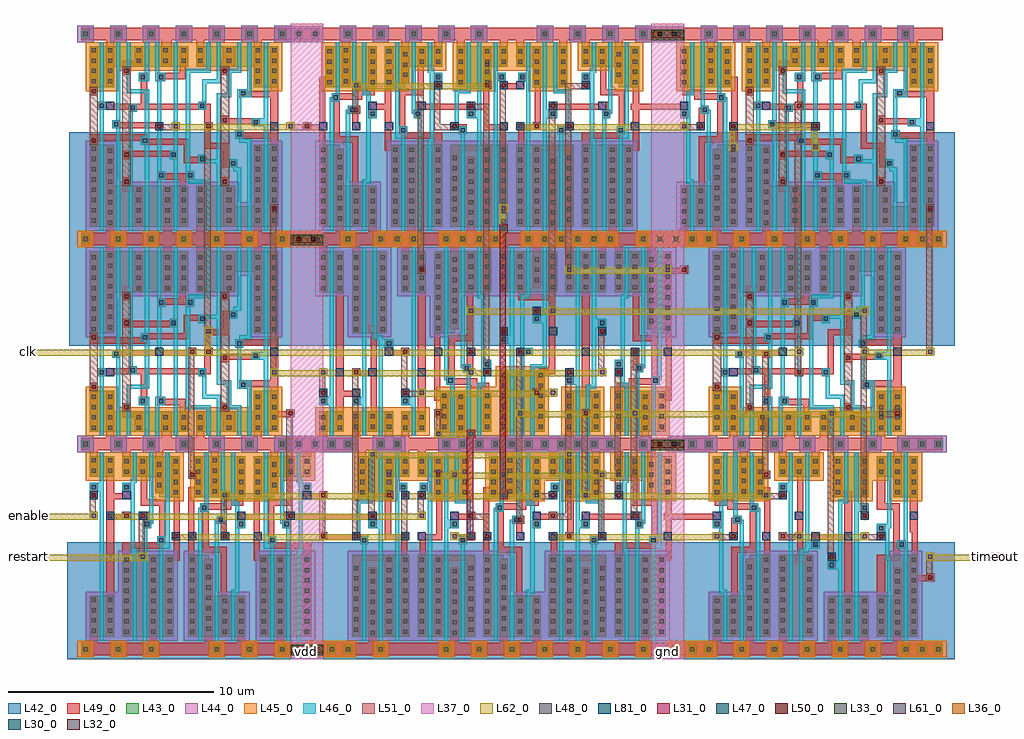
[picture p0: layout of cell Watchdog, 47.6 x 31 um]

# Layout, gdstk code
from math import pi, radians
import gdstk
lib = gdstk.Library(unit=1e-6, precision=1e-09)
def R(c, l, rs):  # rectangles x0, y0, x1, y1
    for r in rs: c.add(gdstk.rectangle(r[:2], r[2:], *l))
def A(c, l, x, y, w, h, nx, ny, dx, dy):  # array of equal rectangles
    R(c, l, [(x+i*dx, y+j*dy, x+i*dx+w, y+j*dy+h) for i in range(nx) for j in range(ny)])
L30_0 = (30, 0)
L31_0 = (31, 0)
L32_0 = (32, 0)
L33_0 = (33, 0)
L36_0 = (36, 0)
L37_0 = (37, 0)
L42_0 = (42, 0)
L43_0 = (43, 0)
L44_0 = (44, 0)
L45_0 = (45, 0)
L46_0 = (46, 0)
L47_0 = (47, 0)
L48_0 = (48, 0)
L49_0 = (49, 0)
L50_0 = (50, 0)
L51_0 = (51, 0)
L61_0 = (61, 0)
L62_0 = (62, 0)
L81_0 = (81, 0)

dffposx1 = lib.new_cell('DFFPOSX1')
R(dffposx1, L42_0, [(-0.8,4.8,10.4,10.5)])
A(dffposx1, L43_0, -0.2, -0.2, 0.4, 0.4, 6, 2, 1.6, 10)
R(dffposx1, L43_0, [(0.2,0.6,5,1.6), (5.4,0.6,9.4,1.6), (0.2,1.6,1.4,2.6), (8.2,1.6,9.4,2.6), (0.2,5.4,1.4,7.4), (8.2,5.4,9.4,8.4), (0.2,7.4,5,9.4), (5.4,7.4,7.3,8.4), (5.4,8.4,9.4,9.4)])
A(dffposx1, L44_0, -0.4, -0.4, 0.8, 0.8, 6, 1, 1.6, 0)
R(dffposx1, L44_0, [(0,5.2,1.6,7.2), (8,5.2,9.6,8.2), (0,7.2,7.5,8.2), (0,8.2,9.6,9.6)])
A(dffposx1, L45_0, -0.4, 9.6, 0.8, 0.8, 6, 1, 1.6, 0)
R(dffposx1, L45_0, [(0,0.4,9.6,1.8), (0,1.8,1.6,2.8), (8,1.8,9.6,2.8)])
R(dffposx1, L46_0, [(0.7,0.4,0.9,3.3), (1.5,0.4,1.7,4.2), (2,0.4,2.2,2.7), (2.9,0.4,3.1,1.9), (3.4,0.4,3.6,1.9), (4.3,0.4,4.5,5.7), (5.9,0.4,6.1,1.7), (6.4,0.4,6.6,2.2), (7.4,0.4,7.6,1.7), (7.9,0.4,8.1,2.7), (8.7,0.4,8.9,4.1), (4.9,1.7,6.1,1.9), (6.9,1.7,7.6,1.9), (2.6,1.9,3.1,2.3), (3.4,1.9,3.9,2.3), (4.9,1.9,5.1,6.7), (6.9,1.9,7.1,2.9), (5.7,2.2,6.6,2.4), (3.5,2.3,3.7,6.7), (5.7,2.4,5.9,3.3), (2,2.7,3.1,2.9), (7.4,2.7,8.1,3.1), (2.9,2.9,3.1,5), (6.4,2.9,7.1,3.1), (6.4,3.1,6.6,6.1), (7.4,3.1,7.6,4.7), (0.6,3.3,1,3.7), (5.5,3.3,5.9,3.7), (2.1,3.4,2.5,3.8), (0.7,3.7,0.9,9.6), (2.1,3.8,2.3,9.6), (8.1,4.1,8.9,4.5), (1.3,4.2,1.7,4.6), (8.7,4.5,8.9,9.6), (1.5,4.6,1.7,9.6), (7.3,4.7,7.7,5.1), (2.7,5,3.1,5.4), (7.5,5.1,8.1,5.3), (7.9,5.3,8.1,9.6), (2.9,5.4,3.1,9.6), (4.1,5.7,4.5,6.1), (5.5,5.9,5.9,6.1), (4.3,6.1,4.5,9.6), (5.5,6.1,6.6,6.3), (7,6.1,7.4,6.5), (6.4,6.3,6.6,9.6), (7.2,6.5,7.6,6.7), (3.5,6.7,3.9,7.1), (4.9,6.7,5.3,7.1), (7.4,6.7,7.6,9.6), (3.5,7.1,3.7,9.6), (5,7.1,6.1,7.3), (5.9,7.3,6.1,9.6)])
R(dffposx1, L47_0, [(2.7,2,2.9,2.2), (3.6,2,3.8,2.2), (7.6,2.8,7.8,3), (0.7,3.4,0.9,3.6), (5.6,3.4,5.8,3.6), (2.2,3.5,2.4,3.7), (8.2,4.2,8.4,4.4), (1.4,4.3,1.6,4.5), (7.4,4.8,7.6,5), (2.8,5.1,3,5.3), (4.2,5.8,4.4,6), (5.6,6,5.8,6.2), (7.1,6.2,7.3,6.4), (3.6,6.8,3.8,7), (5,6.8,5.2,7)])
A(dffposx1, L48_0, -0.1, -0.1, 0.2, 0.2, 6, 2, 1.6, 10)
A(dffposx1, L48_0, 0.3, 0.7, 0.2, 0.2, 1, 4, 0, 0.5)
A(dffposx1, L48_0, 1.1, 0.7, 0.2, 0.2, 1, 4, 0, 0.5)
A(dffposx1, L48_0, 5.5, 0.7, 0.2, 0.2, 3, 2, 1.4, 0.5)
A(dffposx1, L48_0, 9.1, 0.7, 0.2, 0.2, 1, 4, 0, 0.5)
A(dffposx1, L48_0, 0.3, 5.5, 0.2, 0.2, 1, 8, 0, 0.5)
A(dffposx1, L48_0, 8.3, 5.5, 0.2, 0.2, 1, 8, 0, 0.5)
A(dffposx1, L48_0, 9.1, 5.5, 0.2, 0.2, 1, 8, 0, 0.5)
A(dffposx1, L48_0, 1.1, 5.6, 0.2, 0.2, 1, 8, 0, 0.5)
A(dffposx1, L48_0, 2.5, 7.5, 0.2, 0.2, 1, 4, 0, 0.5)
A(dffposx1, L48_0, 3.9, 7.5, 0.2, 0.2, 3, 4, 0.8, 0.5)
A(dffposx1, L48_0, 6.9, 7.5, 0.2, 0.2, 1, 4, 0, 0.5)
R(dffposx1, L48_0, [(2.5,0.7,2.7,0.9), (3.8,0.7,4,0.9), (4.7,0.7,4.9,0.9), (2.5,1.2,2.7,1.4), (3.8,1.2,4,1.4), (4.7,1.2,4.9,1.4), (8.3,1.7,8.5,1.9), (8.3,2.2,8.5,2.4)])
R(dffposx1, L49_0, [(-0.2,-0.3,9.8,0.3), (1,0.3,1.4,2.6), (3.7,0.3,4.2,1.6), (5.4,0.3,5.8,1.6), (8.2,0.3,8.6,2.5), (0.2,0.6,0.6,3), (2.4,0.6,2.8,1.3), (4.6,0.6,5,1.6), (6.7,0.6,7.3,1.3), (9,0.6,9.4,2.8), (1.8,1.3,2.8,1.6), (6.6,1.3,7.3,1.6), (1.8,1.6,2.2,2), (4.6,1.6,4.9,1.9), (6.6,1.6,7,2), (2.6,1.9,3,2.3), (3.5,1.9,4.9,2.2), (3.5,2.2,3.9,2.3), (2.7,2.3,3,3.4), (7.5,2.7,7.9,2.8), (7.5,2.8,9.4,3.1), (9,3.1,9.4,4.8), (0.6,3.3,1.4,3.4), (5.5,3.3,5.9,3.4), (0.6,3.4,6.1,3.7), (2.1,3.7,2.5,3.8), (5.8,3.7,6.1,5.3), (6.6,4,7,4.1), (6.6,4.1,8.5,4.4), (1.3,4.2,1.7,4.3), (1.3,4.3,3.8,4.6), (8.1,4.4,8.5,4.5), (3.4,4.6,3.8,4.7), (7.3,4.7,7.7,4.8), (7.3,4.8,9.4,5.1), (0.2,4.9,3,5), (0.2,5,3.1,5.1), (0.2,5.1,5.1,5.2), (9,5.1,9.4,9.4), (0.2,5.2,0.6,9.4), (2.7,5.2,5.1,5.4), (5.8,5.3,7,5.6), (4.8,5.4,5.1,6), (8.2,5.4,8.6,9.7), (1,5.5,1.4,9.7), (6.7,5.6,7,6.1), (1.8,5.7,4.5,6), (5.5,5.9,5.9,6), (1.8,6,2.2,6.1), (4.1,6,4.5,6.1), (4.8,6,5.9,6.3), (6.7,6.1,7.4,6.5), (3.5,6.7,3.9,6.8), (4.9,6.7,5.3,6.8), (3.5,6.8,5.3,7.1), (1.8,7,2.2,7.4), (6.6,7,7,7.4), (4.6,7.1,4.9,7.4), (1.8,7.4,2.8,7.7), (3.8,7.4,4.2,9.7), (4.6,7.4,5,9.4), (5.4,7.4,5.8,9.7), (6.7,7.4,7.3,9.4), (2.4,7.7,2.8,9.4), (-0.2,9.7,9.8,10.3)])
R(dffposx1, L50_0, [(1.9,1.7,2.1,1.9), (6.7,1.7,6.9,1.9), (0.3,2.7,0.5,2.9), (6.7,4.1,6.9,4.3), (0.3,5.1,0.5,5.3), (1.9,5.8,2.1,6), (1.9,7.1,2.1,7.3), (6.7,7.1,6.9,7.3)])
R(dffposx1, L51_0, [(1.8,1.6,2.2,7.4), (6.6,1.6,7,7.4), (0.2,2.6,0.6,5.4)])
R(dffposx1, L81_0, [(1,3.3,1.4,3.7), (3.4,4.3,3.8,4.7), (9,4.3,9.4,4.7)])
dffposx1.add(gdstk.Label('vdd', (0.4,10), layer=109, texttype=0))
dffposx1.add(gdstk.Label('D', (3.6,4.5), layer=109, texttype=0))
dffposx1.add(gdstk.Label('gnd', (0.4,0), layer=109, texttype=0))
dffposx1.add(gdstk.Label('Q', (9.2,4.5), layer=109, texttype=0))
dffposx1.add(gdstk.Label('CLK', (1.2,3.5), layer=109, texttype=0))

and2x2 = lib.new_cell('AND2X2')
R(and2x2, L42_0, [(-0.8,4.8,4,10.5)])
R(and2x2, L43_0, [(-0.2,-0.2,0.2,0.2), (1.4,-0.2,1.8,0.2), (0.2,0.6,2.7,2.6), (2,5.4,3,5.6), (1.8,5.6,3,7.4), (0.2,7.4,3,9.4), (-0.2,9.8,0.2,10.2), (1.4,9.8,1.8,10.2)])
R(and2x2, L44_0, [(-0.4,-0.4,0.4,0.4), (1.2,-0.4,2,0.4), (1.8,5.2,3.2,5.4), (1.6,5.4,3.2,7.2), (0,7.2,3.2,9.6)])
R(and2x2, L45_0, [(0,0.4,2.9,2.8), (-0.4,9.6,0.4,10.4), (1.2,9.6,2,10.4)])
R(and2x2, L46_0, [(0.7,0.4,0.9,2.8), (1.2,0.4,1.4,3.5), (2,0.4,2.2,2.9), (0.5,2.8,0.9,3), (2,2.9,2.4,3.1), (0.5,3,0.7,3.7), (2,3.1,2.5,3.3), (2.3,3.3,2.5,9.6), (1.2,3.5,1.6,3.7), (0.2,3.7,0.7,4.1), (1.2,3.7,1.7,3.9), (1.5,3.9,1.7,9.6), (0.5,4.1,0.7,7.1), (0.5,7.1,0.9,7.3), (0.7,7.3,0.9,9.6)])
R(and2x2, L47_0, [(2.1,3,2.3,3.2), (1.3,3.6,1.5,3.8), (0.3,3.8,0.5,4)])
A(and2x2, L48_0, 1.6, 0.7, 0.2, 0.2, 1, 4, 0, 0.5)
A(and2x2, L48_0, 0.3, 0.75, 0.2, 0.2, 1, 4, 0, 0.5)
A(and2x2, L48_0, 2.4, 0.75, 0.2, 0.2, 1, 4, 0, 0.5)
A(and2x2, L48_0, 2.7, 5.55, 0.2, 0.2, 1, 8, 0, 0.5)
A(and2x2, L48_0, 1.9, 5.9, 0.2, 0.2, 1, 7, 0, 0.5)
A(and2x2, L48_0, 0.3, 7.55, 0.2, 0.2, 1, 4, 0, 0.5)
A(and2x2, L48_0, 1.1, 7.55, 0.2, 0.2, 1, 4, 0, 0.5)
R(and2x2, L48_0, [(-0.1,-0.1,0.1,0.1), (1.5,-0.1,1.7,0.1), (-0.1,9.9,0.1,10.1), (1.5,9.9,1.7,10.1)])
R(and2x2, L49_0, [(-0.2,-0.3,3.4,0.3), (1.5,0.3,1.9,2.5), (0.2,0.6,0.6,2.6), (2.3,0.6,2.7,2.1), (2.3,2.1,3,2.6), (0.3,2.6,0.6,2.7), (2.7,2.6,3,4.3), (0.3,2.7,1.2,2.9), (0.3,2.9,2.4,3), (0.9,3,2.4,3.2), (2,3.2,2.4,3.3), (0.2,3.3,0.6,4.1), (2,3.3,2.3,5), (1.2,3.5,1.6,3.6), (1.1,3.6,1.6,3.9), (1.1,3.9,1.4,4.3), (1,4.3,1.4,4.7), (2.6,4.3,3,4.7), (2.7,4.7,3,5.4), (1.1,5,2.3,5.3), (1.1,5.3,1.4,7.4), (2.6,5.4,3,9.4), (1.8,5.6,2.2,9.7), (0.2,7.4,0.6,9.7), (1,7.4,1.4,9.4), (-0.2,9.7,3.4,10.3)])
R(and2x2, L81_0, [(0.2,3.3,0.6,3.7), (1,4.3,1.4,4.7), (2.6,4.3,3,4.7)])
and2x2.add(gdstk.Label('vdd', (0.4,10), layer=109, texttype=0))
and2x2.add(gdstk.Label('gnd', (0.4,0), layer=109, texttype=0))
and2x2.add(gdstk.Label('A', (0.4,3.5), layer=109, texttype=0))
and2x2.add(gdstk.Label('B', (1.2,4.5), layer=109, texttype=0))
and2x2.add(gdstk.Label('Y', (2.8,4.5), layer=109, texttype=0))

fill = lib.new_cell('FILL')
R(fill, L42_0, [(-0.8,4.8,1.6,10.5)])
R(fill, L43_0, [(-0.2,-0.2,0.2,0.2), (0.6,-0.2,1,0.2), (-0.2,9.8,0.2,10.2), (0.6,9.8,1,10.2)])
R(fill, L44_0, [(-0.4,-0.4,1.2,0.4)])
R(fill, L45_0, [(-0.4,9.6,1.2,10.4)])
R(fill, L48_0, [(-0.1,-0.1,0.1,0.1), (0.7,-0.1,0.9,0.1), (-0.1,9.9,0.1,10.1), (0.7,9.9,0.9,10.1)])
R(fill, L49_0, [(-0.2,-0.3,1,0.3), (-0.2,9.7,1,10.3)])
fill.add(gdstk.Label('vdd', (0.4,10), layer=109, texttype=0))
fill.add(gdstk.Label('gnd', (0.4,0), layer=109, texttype=0))

or2x2 = lib.new_cell('OR2X2')
R(or2x2, L42_0, [(-0.7,4.8,3.5,10.5)])
R(or2x2, L43_0, [(-0.2,-0.2,0.2,0.2), (1.4,-0.2,1.8,0.2), (0.2,0.6,3,1.6), (1.8,1.6,3,2.4), (2,2.4,3,2.6), (0.2,5.4,2.7,9.4), (-0.2,9.8,0.2,10.2), (1.4,9.8,1.8,10.2)])
R(or2x2, L44_0, [(-0.4,-0.4,0.4,0.4), (1.2,-0.4,2,0.4), (0,5.2,2.9,9.6)])
R(or2x2, L45_0, [(0,0.4,3.2,1.8), (1.6,1.8,3.2,2.6), (1.8,2.6,3.2,2.8), (-0.4,9.6,0.4,10.4), (1.2,9.6,2,10.4)])
R(or2x2, L46_0, [(0.7,0.4,0.9,1.7), (1.5,0.4,1.7,3.7), (2.3,0.4,2.5,4.5), (0.6,1.7,0.9,1.9), (0.2,1.9,0.8,2.3), (0.6,2.3,0.8,5.1), (1.2,3.7,1.7,3.9), (1.2,3.9,1.6,4.1), (1.2,4.1,1.4,9.6), (1.9,4.5,2.5,4.9), (2,4.9,2.5,5.1), (0.6,5.1,0.9,5.3), (2,5.1,2.2,9.6), (0.7,5.3,0.9,9.6)])
R(or2x2, L47_0, [(0.3,2,0.5,2.2), (1.3,3.8,1.5,4), (2,4.6,2.2,4.8)])
A(or2x2, L48_0, 2.7, 0.75, 0.2, 0.2, 1, 4, 0, 0.5)
A(or2x2, L48_0, 1.9, 0.9, 0.2, 0.2, 1, 3, 0, 0.5)
A(or2x2, L48_0, 0.3, 5.55, 0.2, 0.2, 1, 8, 0, 0.5)
A(or2x2, L48_0, 1.6, 5.55, 0.2, 0.2, 1, 8, 0, 0.5)
A(or2x2, L48_0, 2.4, 5.55, 0.2, 0.2, 1, 8, 0, 0.5)
R(or2x2, L48_0, [(-0.1,-0.1,0.1,0.1), (1.5,-0.1,1.7,0.1), (0.3,0.75,0.5,0.95), (1.1,0.75,1.3,0.95), (0.3,1.25,0.5,1.45), (1.1,1.25,1.3,1.45), (-0.1,9.9,0.1,10.1), (1.5,9.9,1.7,10.1)])
R(or2x2, L49_0, [(-0.2,-0.3,3.4,0.3), (0.2,0.3,0.6,1.6), (1.8,0.3,2.2,2.4), (1,0.6,1.4,1.6), (2.6,0.6,3,2.6), (1.1,1.6,1.4,2.7), (0.2,1.9,0.6,2.7), (2.7,2.6,3,4.3), (1.1,2.7,2.3,3), (2,3,2.3,4.5), (1,3.3,1.5,3.7), (1.2,3.7,1.6,4.1), (2.6,4.3,3,4.7), (1.9,4.5,2.3,4.8), (2.7,4.7,3,5.4), (0.2,4.8,2.3,4.9), (0.2,4.9,2.2,5.1), (0.2,5.1,0.6,9.4), (1.5,5.4,1.9,9.7), (2.3,5.4,3,5.7), (2.3,5.7,2.7,9.4), (-0.2,9.7,3.4,10.3)])
R(or2x2, L81_0, [(0.2,2.3,0.6,2.7), (1,3.3,1.4,3.7), (2.6,4.3,3,4.7)])
or2x2.add(gdstk.Label('Y', (2.8,4.5), layer=109, texttype=0))
or2x2.add(gdstk.Label('B', (1.2,3.5), layer=109, texttype=0))
or2x2.add(gdstk.Label('vdd', (0.4,10), layer=109, texttype=0))
or2x2.add(gdstk.Label('gnd', (0.4,0), layer=109, texttype=0))
or2x2.add(gdstk.Label('A', (0.4,2.5), layer=109, texttype=0))

invx1 = lib.new_cell('INVX1')
R(invx1, L42_0, [(-0.9,4.8,2.6,10.5)])
R(invx1, L43_0, [(-0.2,-0.2,0.2,0.2), (0.2,0.6,1.4,1.6), (0.2,7.4,1.4,9.4), (-0.2,9.8,0.2,10.2)])
R(invx1, L44_0, [(-0.4,-0.4,0.4,0.4), (0,7.2,1.6,9.6)])
R(invx1, L45_0, [(0,0.4,1.6,1.8), (-0.4,9.6,0.4,10.4)])
R(invx1, L46_0, [(0.7,0.4,0.9,1.9), (0.2,1.9,0.9,2.3), (0.7,2.3,0.9,9.6)])
R(invx1, L47_0, [(0.3,2,0.5,2.2)])
A(invx1, L48_0, 0.3, 7.5, 0.2, 0.2, 1, 4, 0, 0.5)
A(invx1, L48_0, 1.1, 7.5, 0.2, 0.2, 1, 4, 0, 0.5)
R(invx1, L48_0, [(-0.1,-0.1,0.1,0.1), (0.3,0.7,0.5,0.9), (1.1,0.7,1.3,0.9), (0.3,1.2,0.5,1.4), (1.1,1.2,1.3,1.4), (-0.1,9.9,0.1,10.1)])
R(invx1, L49_0, [(-0.2,-0.3,1.8,0.3), (0.2,0.3,0.6,1.6), (1,0.6,1.4,9.4), (0.2,1.9,0.6,2.7), (0.2,7.4,0.6,9.7), (-0.2,9.7,1.8,10.3)])
R(invx1, L81_0, [(0.2,2.3,0.6,2.7), (1,3.3,1.4,3.7)])
invx1.add(gdstk.Label('A', (0.4,2.5), layer=109, texttype=0))
invx1.add(gdstk.Label('Y', (1.2,3.5), layer=109, texttype=0))
invx1.add(gdstk.Label('vdd', (0.4,10), layer=109, texttype=0))
invx1.add(gdstk.Label('gnd', (0.4,0), layer=109, texttype=0))

aoi21x1 = lib.new_cell('AOI21X1')
R(aoi21x1, L42_0, [(-0.7,4.8,3.9,10.5)])
R(aoi21x1, L43_0, [(-0.2,-0.2,0.2,0.2), (1.4,-0.2,1.8,0.2), (0.5,0.6,3,1.6), (0.5,1.6,2.2,2.6), (0.2,5.4,3,9.4), (-0.2,9.8,0.2,10.2), (1.4,9.8,1.8,10.2)])
R(aoi21x1, L44_0, [(-0.4,-0.4,0.4,0.4), (1.2,-0.4,2,0.4), (0,5.2,3.2,9.6)])
R(aoi21x1, L45_0, [(0.3,0.4,3.2,1.8), (0.3,1.8,2.4,2.8), (-0.4,9.6,0.4,10.4), (1.2,9.6,2,10.4)])
R(aoi21x1, L46_0, [(1,0.4,1.2,2.7), (1.5,0.4,1.7,3.7), (2.3,0.4,2.5,1.9), (2.3,1.9,2.9,2.3), (2.3,2.3,2.5,9.6), (0.4,2.7,1.2,2.9), (0.4,2.9,0.6,4.5), (1,3.7,1.7,4.1), (1.5,4.1,1.7,9.6), (0.4,4.5,1,4.7), (0.6,4.7,1,4.9), (0.7,4.9,0.9,9.6)])
R(aoi21x1, L47_0, [(2.6,2,2.8,2.2), (1.1,3.8,1.3,4), (0.7,4.6,0.9,4.8)])
A(aoi21x1, L48_0, 0.6, 0.75, 0.2, 0.2, 1, 4, 0, 0.5)
A(aoi21x1, L48_0, 1.9, 0.75, 0.2, 0.2, 1, 4, 0, 0.5)
A(aoi21x1, L48_0, 1.9, 5.55, 0.2, 0.2, 1, 8, 0, 0.5)
A(aoi21x1, L48_0, 2.7, 5.55, 0.2, 0.2, 1, 8, 0, 0.5)
A(aoi21x1, L48_0, 0.3, 5.95, 0.2, 0.2, 1, 7, 0, 0.5)
A(aoi21x1, L48_0, 1.1, 6.1, 0.2, 0.2, 1, 7, 0, 0.5)
R(aoi21x1, L48_0, [(-0.1,-0.1,0.1,0.1), (1.5,-0.1,1.7,0.1), (2.7,0.75,2.9,0.95), (2.7,1.25,2.9,1.45), (-0.1,9.9,0.1,10.1), (1.5,9.9,1.7,10.1)])
R(aoi21x1, L49_0, [(-0.2,-0.3,3.4,0.3), (0.5,0.3,0.9,2.6), (2.6,0.3,3,1.6), (1.8,0.6,2.2,2.6), (2.5,1.9,2.9,2.3), (2.6,2.3,3,2.7), (1.8,2.6,2.1,4.4), (1,3.3,1.4,4.1), (0.2,4.3,0.6,4.4), (2.6,4.3,3,4.4), (0.2,4.4,1,4.7), (1.8,4.4,3,4.7), (0.6,4.7,1,4.9), (2.6,4.7,2.9,5.4), (0.2,5.4,2.2,5.7), (2.6,5.4,3,9.4), (0.2,5.7,0.6,9.4), (1.8,5.7,2.2,9.4), (1,6,1.4,9.7), (-0.2,9.7,3.4,10.3)])
R(aoi21x1, L81_0, [(2.6,2.3,3,2.7), (1,3.3,1.4,3.7), (0.2,4.3,0.6,4.7), (2.6,4.3,3,4.7)])
aoi21x1.add(gdstk.Label('gnd', (0.4,0), layer=109, texttype=0))
aoi21x1.add(gdstk.Label('vdd', (0.4,10), layer=109, texttype=0))
aoi21x1.add(gdstk.Label('A', (0.4,4.5), layer=109, texttype=0))
aoi21x1.add(gdstk.Label('B', (1.2,3.5), layer=109, texttype=0))
aoi21x1.add(gdstk.Label('Y', (2.8,4.5), layer=109, texttype=0))
aoi21x1.add(gdstk.Label('C', (2.8,2.5), layer=109, texttype=0))

nor2x1 = lib.new_cell('NOR2X1')
R(nor2x1, L42_0, [(-0.8,4.8,3.2,10.5)])
R(nor2x1, L43_0, [(-0.2,-0.2,0.2,0.2), (1.4,-0.2,1.8,0.2), (0.2,0.6,2.2,1.6), (0.2,5.4,1.9,9.4), (-0.2,9.8,0.2,10.2), (1.4,9.8,1.8,10.2)])
R(nor2x1, L44_0, [(-0.4,-0.4,0.4,0.4), (1.2,-0.4,2,0.4), (0,5.2,2.1,9.6)])
R(nor2x1, L45_0, [(0,0.4,2.4,1.8), (-0.4,9.6,0.4,10.4), (1.2,9.6,2,10.4)])
R(nor2x1, L46_0, [(0.7,0.4,0.9,1.9), (1.5,0.4,1.7,4.7), (0.2,1.9,0.9,2.3), (0.7,2.3,0.9,9.6), (1.5,4.7,2.2,5.1), (1.2,5.1,1.7,5.3), (1.2,5.3,1.4,9.6)])
R(nor2x1, L47_0, [(0.3,2,0.5,2.2), (1.9,4.8,2.1,5)])
A(nor2x1, L48_0, 0.3, 0.75, 0.2, 0.2, 3, 2, 0.8, 0.5)
A(nor2x1, L48_0, 0.3, 5.5, 0.2, 0.2, 1, 8, 0, 0.5)
A(nor2x1, L48_0, 1.6, 5.5, 0.2, 0.2, 1, 8, 0, 0.5)
R(nor2x1, L48_0, [(-0.1,-0.1,0.1,0.1), (1.5,-0.1,1.7,0.1), (-0.1,9.9,0.1,10.1), (1.5,9.9,1.7,10.1)])
R(nor2x1, L49_0, [(-0.2,-0.3,2.6,0.3), (0.2,0.3,0.6,1.6), (1.8,0.3,2.2,1.6), (1,0.6,1.4,1.6), (1.1,1.6,1.4,3.3), (0.2,1.9,0.6,2.7), (1,3.3,1.4,3.7), (1.1,3.7,1.4,5.4), (1.8,4.3,2.2,5.1), (0.2,5.4,0.6,9.7), (1,5.4,1.9,5.8), (1.5,5.8,1.9,9.4), (-0.2,9.7,2.6,10.3)])
R(nor2x1, L81_0, [(0.2,2.3,0.6,2.7), (1,3.3,1.4,3.7), (1.8,4.3,2.2,4.7)])
nor2x1.add(gdstk.Label('vdd', (0.4,10), layer=109, texttype=0))
nor2x1.add(gdstk.Label('B', (2,4.5), layer=109, texttype=0))
nor2x1.add(gdstk.Label('gnd', (0.4,0), layer=109, texttype=0))
nor2x1.add(gdstk.Label('Y', (1.2,3.5), layer=109, texttype=0))
nor2x1.add(gdstk.Label('A', (0.4,2.5), layer=109, texttype=0))

nand3x1 = lib.new_cell('NAND3X1')
R(nand3x1, L42_0, [(-0.8,4.8,4,10.5)])
R(nand3x1, L43_0, [(-0.2,-0.2,0.2,0.2), (1.4,-0.2,1.8,0.2), (0.2,0.6,2.4,3.6), (0.2,7.4,3,9.4), (-0.2,9.8,0.2,10.2), (1.4,9.8,1.8,10.2)])
R(nand3x1, L44_0, [(-0.4,-0.4,0.4,0.4), (1.2,-0.4,2,0.4), (0,7.2,3.2,9.6)])
R(nand3x1, L45_0, [(0,0.4,2.6,3.8), (-0.4,9.6,0.4,10.4), (1.2,9.6,2,10.4)])
R(nand3x1, L46_0, [(0.7,0.4,0.9,4.9), (1.2,0.4,1.4,4.3), (1.7,0.4,1.9,3.7), (1.7,3.7,2.5,3.9), (2.3,3.9,2.5,5.9), (1.2,4.3,1.8,4.7), (1.2,4.7,1.4,7.1), (0.2,4.9,0.9,5.3), (0.7,5.3,0.9,9.6), (1.8,5.9,2.5,6.3), (2.3,6.3,2.5,9.6), (1.2,7.1,1.7,7.3), (1.5,7.3,1.7,9.6)])
R(nand3x1, L47_0, [(1.5,4.4,1.7,4.6), (0.3,5,0.5,5.2), (1.9,6,2.1,6.2)])
A(nand3x1, L48_0, 0.3, 0.75, 0.2, 0.2, 1, 6, 0, 0.5)
A(nand3x1, L48_0, 2.1, 0.75, 0.2, 0.2, 1, 6, 0, 0.5)
A(nand3x1, L48_0, 0.3, 7.55, 0.2, 0.2, 1, 4, 0, 0.5)
A(nand3x1, L48_0, 1.1, 7.55, 0.2, 0.2, 1, 4, 0, 0.5)
A(nand3x1, L48_0, 2.7, 7.55, 0.2, 0.2, 1, 4, 0, 0.5)
A(nand3x1, L48_0, 1.9, 7.9, 0.2, 0.2, 1, 3, 0, 0.5)
R(nand3x1, L48_0, [(-0.1,-0.1,0.1,0.1), (1.5,-0.1,1.7,0.1), (-0.1,9.9,0.1,10.1), (1.5,9.9,1.7,10.1)])
R(nand3x1, L49_0, [(-0.2,-0.3,3.4,0.3), (0.2,0.3,0.6,3.6), (2,0.6,2.4,3.4), (2,3.4,2.9,3.6), (2.1,3.6,2.9,3.7), (2.6,3.7,2.9,5.3), (1,4.3,1.8,4.7), (0.2,4.9,0.6,5.7), (2.6,5.3,3,5.7), (2.6,5.7,2.9,7), (1.8,5.9,2.2,6.7), (1.1,7,2.9,7.3), (1.1,7.3,1.4,7.4), (2.6,7.3,2.9,7.4), (0.2,7.4,0.6,9.7), (1,7.4,1.4,9.4), (2.6,7.4,3,9.4), (1.8,7.6,2.2,9.7), (-0.2,9.7,3.4,10.3)])
R(nand3x1, L81_0, [(1,4.3,1.4,4.7), (0.2,5.3,0.6,5.7), (2.6,5.3,3,5.7), (1.8,6.3,2.2,6.7)])
nand3x1.add(gdstk.Label('B', (1.2,4.5), layer=109, texttype=0))
nand3x1.add(gdstk.Label('vdd', (0.4,10), layer=109, texttype=0))
nand3x1.add(gdstk.Label('gnd', (0.4,0), layer=109, texttype=0))
nand3x1.add(gdstk.Label('A', (0.4,5.5), layer=109, texttype=0))
nand3x1.add(gdstk.Label('C', (2,6.5), layer=109, texttype=0))
nand3x1.add(gdstk.Label('Y', (2.8,5.5), layer=109, texttype=0))

nand2x1 = lib.new_cell('NAND2X1')
R(nand2x1, L42_0, [(-0.8,4.8,3.2,10.5)])
R(nand2x1, L43_0, [(-0.2,-0.2,0.2,0.2), (1.4,-0.2,1.8,0.2), (0.2,0.6,1.9,2.6), (0.2,7.4,2.2,9.4), (-0.2,9.8,0.2,10.2), (1.4,9.8,1.8,10.2)])
R(nand2x1, L44_0, [(-0.4,-0.4,0.4,0.4), (1.2,-0.4,2,0.4), (0,7.2,2.4,9.6)])
R(nand2x1, L45_0, [(0,0.4,2.1,2.8), (-0.4,9.6,0.4,10.4), (1.2,9.6,2,10.4)])
R(nand2x1, L46_0, [(0.7,0.4,0.9,2.9), (1.2,0.4,1.4,2.7), (1.2,2.7,1.7,2.9), (0.2,2.9,0.9,3.3), (1.5,2.9,1.7,5.7), (0.7,3.3,0.9,9.6), (1.5,5.7,2.2,6.1), (1.5,6.1,1.7,9.6)])
R(nand2x1, L47_0, [(0.3,3,0.5,3.2), (1.9,5.8,2.1,6)])
A(nand2x1, L48_0, 0.3, 0.75, 0.2, 0.2, 1, 4, 0, 0.5)
A(nand2x1, L48_0, 1.6, 0.75, 0.2, 0.2, 1, 4, 0, 0.5)
A(nand2x1, L48_0, 0.3, 7.55, 0.2, 0.2, 3, 4, 0.8, 0.5)
R(nand2x1, L48_0, [(-0.1,-0.1,0.1,0.1), (1.5,-0.1,1.7,0.1), (-0.1,9.9,0.1,10.1), (1.5,9.9,1.7,10.1)])
R(nand2x1, L49_0, [(-0.2,-0.3,2.6,0.3), (0.2,0.3,0.6,2.6), (1.5,0.6,1.9,2.3), (1,2.3,1.9,2.6), (1,2.6,1.4,9.4), (0.2,2.9,0.6,3.7), (1.8,5.3,2.2,6.1), (0.2,7.4,0.6,9.7), (1.8,7.4,2.2,9.7), (-0.2,9.7,2.6,10.3)])
R(nand2x1, L81_0, [(0.2,3.3,0.6,3.7), (1,4.3,1.4,4.7), (1.8,5.3,2.2,5.7)])
nand2x1.add(gdstk.Label('vdd', (0.4,10), layer=109, texttype=0))
nand2x1.add(gdstk.Label('Y', (1.2,4.5), layer=109, texttype=0))
nand2x1.add(gdstk.Label('gnd', (0.4,0), layer=109, texttype=0))
nand2x1.add(gdstk.Label('A', (0.4,3.5), layer=109, texttype=0))
nand2x1.add(gdstk.Label('B', (2,5.5), layer=109, texttype=0))

bufx2 = lib.new_cell('BUFX2')
R(bufx2, L42_0, [(-0.5,4.8,2.8,10.5)])
R(bufx2, L43_0, [(-0.2,-0.2,0.2,0.2), (1.4,-0.2,1.8,0.2), (0.2,0.6,2.2,1.6), (1,1.6,2.2,2.6), (1,5.4,2.2,7.4), (0.2,7.4,2.2,9.4), (-0.2,9.8,0.2,10.2), (1.4,9.8,1.8,10.2)])
R(bufx2, L44_0, [(-0.4,-0.4,0.4,0.4), (1.2,-0.4,2,0.4), (0.8,5.2,2.4,7.2), (0,7.2,2.4,9.6)])
R(bufx2, L45_0, [(0,0.4,2.4,1.8), (0.8,1.8,2.4,2.8), (-0.4,9.6,0.4,10.4), (1.2,9.6,2,10.4)])
R(bufx2, L46_0, [(0.7,0.4,0.9,3.9), (1.5,0.4,1.7,4.7), (0.2,3.9,0.9,4.1), (0.2,4.1,0.8,4.3), (0.6,4.3,0.8,5.5), (1.2,4.7,1.7,5.1), (1.5,5.1,1.7,9.6), (0.6,5.5,0.9,5.7), (0.7,5.7,0.9,9.6)])
R(bufx2, L47_0, [(0.3,4,0.5,4.2), (1.3,4.8,1.5,5)])
A(bufx2, L48_0, 0.3, 0.75, 0.2, 0.2, 3, 2, 0.8, 0.5)
A(bufx2, L48_0, 1.9, 5.55, 0.2, 0.2, 1, 8, 0, 0.5)
A(bufx2, L48_0, 1.1, 6.1, 0.2, 0.2, 1, 7, 0, 0.5)
A(bufx2, L48_0, 0.3, 7.55, 0.2, 0.2, 1, 4, 0, 0.5)
R(bufx2, L48_0, [(-0.1,-0.1,0.1,0.1), (1.5,-0.1,1.7,0.1), (1.1,1.75,1.3,1.95), (1.9,1.75,2.1,1.95), (1.1,2.25,1.3,2.45), (1.9,2.25,2.1,2.45), (-0.1,9.9,0.1,10.1), (1.5,9.9,1.7,10.1)])
R(bufx2, L49_0, [(-0.2,-0.3,2.6,0.3), (1,0.3,1.4,2.6), (0.2,0.6,0.6,2.9), (1.8,0.6,2.2,4.3), (0.2,2.9,1.3,3.2), (1,3.2,1.3,4.7), (0.2,3.9,0.6,4.7), (1.9,4.3,2.2,5.4), (1,4.7,1.6,5.1), (1,5.1,1.3,5.4), (0.2,5.4,1.3,5.7), (1.8,5.4,2.2,9.4), (0.2,5.7,0.6,9.4), (1,6,1.4,9.7), (-0.2,9.7,2.6,10.3)])
R(bufx2, L81_0, [(1.8,3.3,2.2,3.7), (0.2,4.3,0.6,4.7)])
bufx2.add(gdstk.Label('vdd', (0.4,10), layer=109, texttype=0))
bufx2.add(gdstk.Label('gnd', (0.4,0), layer=109, texttype=0))
bufx2.add(gdstk.Label('A', (0.4,4.5), layer=109, texttype=0))
bufx2.add(gdstk.Label('Y', (2,3.5), layer=109, texttype=0))

watchdog = lib.new_cell('Watchdog')
R(watchdog, L30_0, [(10.7,0.4,10.9,0.6), (11.5,0.4,11.7,0.6), (19.1,5.9,19.3,6.1), (20.7,7.9,20.9,8.1), (28.3,10.4,28.5,10.6), (29.1,10.4,29.3,10.6), (19.1,10.9,19.3,11.1), (10.7,20.4,10.9,20.6), (11.5,20.4,11.7,20.6), (20.7,20.9,20.9,21.1), (28.3,30.4,28.5,30.6), (29.1,30.4,29.3,30.6)])
R(watchdog, L31_0, [(10.4,0.3,12,0.7), (19,5.8,19.4,6.2), (19,6.2,19.3,10.8), (20.6,7.8,21,8.2), (20.6,8.2,20.9,20.8), (28,10.3,29.6,10.7), (19,10.8,19.4,11.2), (10.4,20.3,12,20.7), (20.6,20.8,21,21.2), (28,30.3,29.6,30.7)])
R(watchdog, L32_0, [(10.7,0.4,10.9,0.6), (11.4,0.4,11.6,0.6), (28.3,10.4,28.5,10.6), (29,10.4,29.2,10.6), (10.7,20.4,10.9,20.6), (11.4,20.4,11.6,20.6), (28.3,30.4,28.5,30.6), (29,30.4,29.2,30.6)])
R(watchdog, L33_0, [(10.4,0.2,12,0.7), (28,10.2,29.6,10.7), (10.4,20.2,12,20.7), (28,30.2,29.6,30.7)])
R(watchdog, L36_0, [(10.5,0.3,10.8,0.6), (11.5,0.3,11.8,0.6), (28.1,10.3,28.4,10.6), (29.1,10.3,29.4,10.6), (10.5,20.3,10.8,20.6), (11.5,20.3,11.8,20.6), (28.1,30.3,28.4,30.6), (29.1,30.3,29.4,30.6)])
R(watchdog, L37_0, [(10.4,0,12,31), (28,0,29.6,31)])
A(watchdog, L49_0, 19, 7.1, 0.4, 0.1, 3, 1, 4, 0)
A(watchdog, L49_0, 15, 7.8, 0.4, 0.4, 3, 1, 0.8, 0)
R(watchdog, L49_0, [(10.4,0.3,12,0.7), (40.6,3.8,41.8,4.1), (41.4,4.1,41.8,4.2), (36.6,4.8,37,5.2), (4.6,5.8,5,6.2), (7,5.8,7.4,6.2), (11.8,5.8,13.8,6.1), (19,5.8,19.4,6.2), (19.8,5.8,20.2,6.2), (23.8,5.8,24.2,6.2), (25.4,5.8,25.8,6.2), (31.8,5.8,32.2,6.2), (34.2,5.8,35.3,6.1), (35.8,5.8,37.7,6.1), (39,5.8,39.4,6.2), (11.8,6.1,12.2,6.2), (13.4,6.1,13.8,6.2), (34.2,6.1,34.6,6.2), (21.4,6.6,21.8,7), (1.4,6.8,2.6,7.1), (3,6.8,3.4,7.2), (7.8,6.8,8.9,7.1), (10.2,6.8,14.6,7.1), (18.2,6.8,19.4,7.1), (22.2,6.8,23.4,7.1), (24.6,6.8,27.4,7.1), (28.6,6.8,31.3,7.1), (38.2,6.8,38.6,7.2), (2.2,7.1,2.6,7.2), (10.2,7.1,10.6,7.2), (14.2,7.1,14.6,7.2), (0.6,7.8,1,8.2), (1.4,7.8,2.5,8.1), (11,7.8,12.2,8.1), (23,7.8,23.4,8.2), (26.2,7.8,26.6,8.2), (34.2,7.8,34.6,8.2), (11.8,8.1,12.2,8.2), (5.4,8.8,5.8,9.2), (17.4,8.8,17.8,9.2), (33.4,8.8,33.8,9.2), (28,10.3,29.6,10.7), (9.4,11.8,10.6,12.1), (17.4,11.8,17.8,12.2), (24.6,11.8,25.1,12.2), (39.8,11.8,40.2,12.2), (10.2,12.1,10.6,12.2), (11.8,12.8,12.2,13.2), (12.6,12.8,13.7,13.1), (15.8,12.8,16.2,13.2), (22.2,12.8,22.6,13.2), (13.4,13.8,14.5,14.1), (19.8,13.8,20.2,14.2), (23.8,13.8,24.2,14.2), (26.2,13.8,26.6,14.2), (35,13.8,35.4,14.2), (13.4,14.1,13.8,14.2), (33.4,14.7,33.8,15.1), (3.8,14.8,5.8,15.1), (6.2,14.8,6.6,15.2), (15,14.8,16.2,15.1), (19,14.8,19.4,15.2), (21.4,14.8,21.8,15.2), (27,14.8,27.4,15.2), (5.4,15.1,5.8,15.2), (15.8,15.1,16.2,15.2), (20.6,15.8,21,16.2), (25.4,15.8,25.8,16.2), (22.2,16.8,22.6,17.2), (16.6,18.8,17,19.2), (28.6,18.8,29.8,19.1), (29.4,19.1,29.8,19.2), (10.4,20.3,12,20.7), (9.4,21.8,9.8,22.2), (41.4,21.8,41.8,22.2), (3.8,25.8,4.2,26.2), (6.2,25.8,6.6,26.2), (11,25.8,12.1,26.1), (18.2,25.8,18.6,26.2), (22.2,25.8,22.6,26.2), (23.8,25.8,24.2,26.2), (30.2,25.8,30.6,26.2), (31.8,25.8,32.2,26.2), (35.8,25.8,36.2,26.2), (11,26.1,11.4,26.2), (13.4,26.6,13.8,27), (14.2,26.8,15.3,27.1), (16.6,26.8,19.4,27.1), (23,26.8,25.7,27.1), (27,26.8,29.7,27.1), (35,26.8,35.4,27.2), (19,27.1,19.4,27.2), (23,27.1,23.4,27.2), (17.4,27.8,17.8,28.2), (19.8,27.8,20.2,28.2), (20.6,27.8,21.7,28.1), (24.6,27.8,25,28.2), (20.6,28.1,21,28.2), (28,30.3,29.6,30.7)])
A(watchdog, L50_0, 19.1, 6.9, 0.2, 0.2, 3, 1, 4, 0)
A(watchdog, L50_0, 15.1, 7.9, 0.2, 0.2, 3, 1, 0.8, 0)
A(watchdog, L50_0, 10.3, 11.9, 0.2, 0.2, 3, 1, 7.2, 0)
R(watchdog, L50_0, [(10.7,0.4,10.9,0.6), (11.4,0.4,11.6,0.6), (41.5,3.9,41.7,4.1), (36.7,4.9,36.9,5.1), (4.7,5.9,4.9,6.1), (7.1,5.9,7.3,6.1), (11.9,5.9,12.1,6.1), (13.5,5.9,13.7,6.1), (19.1,5.9,19.3,6.1), (19.9,5.9,20.1,6.1), (23.9,5.9,24.1,6.1), (25.5,5.9,25.7,6.1), (31.9,5.9,32.1,6.1), (34.3,5.9,34.5,6.1), (39.1,5.9,39.3,6.1), (21.5,6.7,21.7,6.9), (2.3,6.9,2.5,7.1), (3.1,6.9,3.3,7.1), (10.3,6.9,10.5,7.1), (14.3,6.9,14.5,7.1), (38.3,6.9,38.5,7.1), (0.7,7.9,0.9,8.1), (11.9,7.9,12.1,8.1), (23.1,7.9,23.3,8.1), (26.3,7.9,26.5,8.1), (34.3,7.9,34.5,8.1), (5.5,8.9,5.7,9.1), (17.5,8.9,17.7,9.1), (33.5,8.9,33.7,9.1), (28.3,10.4,28.5,10.6), (29,10.4,29.2,10.6), (39.9,11.9,40.1,12.1), (11.9,12.9,12.1,13.1), (15.9,12.9,16.1,13.1), (22.3,12.9,22.5,13.1), (13.5,13.9,13.7,14.1), (19.9,13.9,20.1,14.1), (23.9,13.9,24.1,14.1), (26.3,13.9,26.5,14.1), (35.1,13.9,35.3,14.1), (33.5,14.8,33.7,15), (5.5,14.9,5.7,15.1), (6.3,14.9,6.5,15.1), (15.9,14.9,16.1,15.1), (19.1,14.9,19.3,15.1), (21.5,14.9,21.7,15.1), (27.1,14.9,27.3,15.1), (20.7,15.9,20.9,16.1), (25.5,15.9,25.7,16.1), (22.3,16.9,22.5,17.1), (16.7,18.9,16.9,19.1), (29.5,18.9,29.7,19.1), (10.7,20.4,10.9,20.6), (11.4,20.4,11.6,20.6), (9.5,21.9,9.7,22.1), (41.5,21.9,41.7,22.1), (3.9,25.9,4.1,26.1), (6.3,25.9,6.5,26.1), (11.1,25.9,11.3,26.1), (18.3,25.9,18.5,26.1), (22.3,25.9,22.5,26.1), (23.9,25.9,24.1,26.1), (30.3,25.9,30.5,26.1), (31.9,25.9,32.1,26.1), (35.9,25.9,36.1,26.1), (13.5,26.7,13.7,26.9), (19.1,26.9,19.3,27.1), (23.1,26.9,23.3,27.1), (35.1,26.9,35.3,27.1), (17.5,27.9,17.7,28.1), (19.9,27.9,20.1,28.1), (20.7,27.9,20.9,28.1), (24.7,27.9,24.9,28.1), (28.3,30.4,28.5,30.6), (29,30.4,29.2,30.6)])
A(watchdog, L51_0, 23, 6.1, 0.4, 0.1, 1, 3, 0, 1)
A(watchdog, L51_0, 15, 7.8, 0.4, 0.4, 3, 1, 0.8, 0)
A(watchdog, L51_0, 35, 14.8, 0.4, 0.4, 3, 1, 3.2, 0)
A(watchdog, L51_0, 20.6, 15.8, 0.4, 0.4, 1, 3, 0, 6)
R(watchdog, L51_0, [(10.4,0.3,12,0.7), (41.4,3.8,41.8,4.2), (41.4,4.2,41.7,4.8), (3,4.8,3.4,5.2), (36.6,4.8,37,5.2), (41.4,4.8,41.8,5.2), (3,5.2,3.3,6.8), (36.6,5.2,36.9,11.8), (4.6,5.8,5.8,6.1), (7,5.8,7.4,6.2), (11.8,5.8,12.2,6.2), (13.4,5.8,13.8,6.2), (15.8,5.8,16.2,6.2), (18.2,5.8,19.4,6.1), (19.8,5.8,20.2,6.2), (23,5.8,24.2,6.1), (25.4,5.8,25.8,6.2), (31,5.8,32.2,6.1), (34.2,5.8,35.4,6.1), (38.2,5.8,39.4,6.1), (4.6,6.1,5,6.2), (5.4,6.1,5.8,6.2), (18.2,6.1,18.6,6.2), (19,6.1,19.4,6.2), (23.8,6.1,24.2,6.2), (31,6.1,31.4,6.2), (31.8,6.1,32.2,6.2), (34.2,6.1,34.6,6.2), (35,6.1,35.4,6.2), (38.2,6.1,38.6,6.2), (39,6.1,39.4,6.2), (7,6.2,7.3,7.8), (11.8,6.2,12.1,7.8), (13.4,6.2,13.7,13.8), (15.8,6.2,16.1,7.8), (19.8,6.2,20.1,6.8), (25.4,6.2,25.7,8.8), (21.4,6.6,21.8,7), (0.6,6.8,1,7.2), (1.4,6.8,2.6,7.1), (3,6.8,3.4,7.2), (10.2,6.8,10.6,7.2), (14.2,6.8,14.6,7.2), (16.6,6.8,17,7.2), (19,6.8,20.1,7.1), (23,6.8,24.1,7.1), (27,6.8,27.4,7.2), (38.2,6.8,38.6,7.2), (21.4,7,21.7,11.8), (1.4,7.1,1.8,7.2), (2.2,7.1,2.6,7.2), (19,7.1,19.4,7.2), (23.8,7.1,24.1,9.8), (0.6,7.2,0.9,7.8), (10.2,7.2,10.5,11.8), (14.2,7.2,14.5,9.8), (16.6,7.2,16.9,7.8), (27,7.2,27.3,11.8), (38.2,7.2,38.5,14.8), (0.6,7.8,1,8.2), (7,7.8,7.4,8.2), (11.8,7.8,12.2,8.2), (22.2,7.8,23.4,8.1), (24.6,7.8,25,8.2), (26.2,7.8,26.6,8.2), (33.4,7.8,34.6,8.1), (22.2,8.1,22.6,8.2), (33.4,8.1,33.8,8.2), (34.2,8.1,34.6,8.2), (15,8.2,15.3,8.8), (24.6,8.2,24.9,11.8), (26.2,8.2,26.5,8.8), (5.4,8.8,5.8,9.2), (15,8.8,15.4,9.2), (17.4,8.8,18.6,9.1), (20.6,8.8,21,9.2), (25.4,8.8,25.8,9.2), (26.2,8.8,26.6,9.2), (33.4,8.8,33.8,9.2), (17.4,9.1,17.8,9.2), (18.2,9.1,18.6,9.2), (5.4,9.2,5.7,14.8), (20.6,9.2,20.9,15.8), (26.2,9.2,26.5,13.8), (33.4,9.2,33.7,14.7), (14.2,9.8,14.6,10.2), (23.8,9.8,24.2,10.2), (23.8,10.2,24.1,13.8), (28,10.3,29.6,10.7), (17.4,10.8,17.8,11.2), (17.4,11.2,17.7,11.8), (10.2,11.8,10.6,12.2), (17.4,11.8,17.8,12.2), (21.4,11.8,21.8,12.2), (24.6,11.8,25,12.2), (27,11.8,27.4,12.2), (36.6,11.8,37,12.2), (39,11.8,40.2,12.1), (39,12.1,39.4,12.2), (39.8,12.1,40.2,12.2), (21.4,12.2,21.7,14.8), (27,12.2,27.3,14.8), (11.8,12.8,12.2,13.2), (15.8,12.8,17,13.1), (22.2,12.8,23.4,13.1), (15.8,13.1,16.2,13.2), (16.6,13.1,17,13.2), (22.2,13.1,22.6,13.2), (23,13.1,23.4,13.2), (11.8,13.2,12.1,13.8), (15.8,13.2,16.1,14.8), (9.4,13.8,9.8,14.2), (11.8,13.8,12.2,14.2), (13.4,13.8,13.8,14.2), (19,13.8,20.2,14.1), (23.8,13.8,24.2,14.2), (25.4,13.8,25.8,14.2), (26.2,13.8,26.6,14.2), (35,13.8,35.4,14.2), (19,14.1,19.4,14.2), (19.8,14.1,20.2,14.2), (9.4,14.2,9.7,21.8), (19.8,14.2,20.1,26.8), (25.4,14.2,25.7,15.8), (35,14.2,35.3,14.8), (33.4,14.7,33.8,15.1), (5.4,14.8,5.8,15.2), (6.2,14.8,6.6,15.2), (15.8,14.8,16.2,15.2), (19,14.8,19.4,15.2), (21.4,14.8,21.8,15.2), (27,14.8,27.4,15.2), (6.2,15.2,6.5,15.8), (19,15.2,19.3,16.8), (35,15.2,35.3,26.8), (38.2,15.2,38.5,16.8), (41.4,15.2,41.7,21.8), (6.2,15.8,6.6,16.2), (25.4,15.8,25.8,16.2), (6.2,16.2,6.5,25.8), (19,16.8,19.4,17.2), (22.2,16.8,23.4,17.1), (38.2,16.8,38.6,17.2), (22.2,17.1,22.6,17.2), (23,17.1,23.4,17.2), (23,17.2,23.3,26.8), (16.6,18.8,17,19.2), (23.8,18.8,24.2,19.2), (28.6,18.8,29.8,19.1), (28.6,19.1,29,19.2), (29.4,19.1,29.8,19.2), (16.6,19.2,16.9,27.8), (23.8,19.2,24.1,25.8), (10.4,20.3,12,20.7), (9.4,21.8,9.8,22.2), (41.4,21.8,41.8,22.2), (20.6,22.2,20.9,27.8), (31.8,24.8,32.2,25.2), (35.8,24.8,36.2,25.2), (31.8,25.2,32.1,25.8), (35.8,25.2,36.1,25.8), (3.8,25.8,5,26.1), (6.2,25.8,6.6,26.2), (10.2,25.8,11.4,26.1), (17.4,25.8,18.6,26.1), (21.4,25.8,22.6,26.1), (23.8,25.8,24.2,26.2), (29.4,25.8,30.6,26.1), (31.8,25.8,32.2,26.2), (35.8,25.8,36.2,26.2), (3.8,26.1,4.2,26.2), (4.6,26.1,5,26.2), (10.2,26.1,10.6,26.2), (11,26.1,11.4,26.2), (17.4,26.1,17.7,27.8), (18.2,26.1,18.6,26.2), (21.4,26.1,21.8,26.2), (22.2,26.1,22.6,26.2), (29.4,26.1,29.8,26.2), (30.2,26.1,30.6,26.2), (23.8,26.2,24.1,27.8), (13.4,26.6,13.8,27), (19,26.8,20.1,27.1), (23,26.8,23.4,27.2), (35,26.8,35.4,27.2), (13.4,27,13.7,27.8), (19,27.1,19.4,27.2), (13.4,27.8,13.8,28.2), (16.6,27.8,17.8,28.1), (19.8,27.8,20.2,28.2), (23.8,27.8,25,28.1), (17.4,28.1,17.8,28.2), (24.6,28.1,25,28.2), (19.8,28.2,20.1,28.8), (19.8,28.8,20.2,29.2), (28,30.3,29.6,30.7)])
A(watchdog, L61_0, 35.1, 14.9, 0.2, 0.2, 3, 1, 3.2, 0)
R(watchdog, L61_0, [(10.7,0.4,10.9,0.6), (11.4,0.4,11.6,0.6), (3.1,4.9,3.3,5.1), (41.5,4.9,41.7,5.1), (5.5,5.9,5.7,6.1), (15.9,5.9,16.1,6.1), (18.3,5.9,18.5,6.1), (23.1,5.9,23.3,6.1), (31.1,5.9,31.3,6.1), (35.1,5.9,35.3,6.1), (38.3,5.9,38.5,6.1), (0.7,6.9,0.9,7.1), (1.5,6.9,1.7,7.1), (16.7,6.9,16.9,7.1), (7.1,7.9,7.3,8.1), (15.9,7.9,16.1,8.1), (22.3,7.9,22.5,8.1), (24.7,7.9,24.9,8.1), (33.5,7.9,33.7,8.1), (15.1,8.9,15.3,9.1), (18.3,8.9,18.5,9.1), (20.7,8.9,20.9,9.1), (25.5,8.9,25.7,9.1), (26.3,8.9,26.5,9.1), (14.3,9.9,14.5,10.1), (23.9,9.9,24.1,10.1), (28.3,10.4,28.5,10.6), (29,10.4,29.2,10.6), (17.5,10.9,17.7,11.1), (21.5,11.9,21.7,12.1), (27.1,11.9,27.3,12.1), (36.7,11.9,36.9,12.1), (39.1,11.9,39.3,12.1), (16.7,12.9,16.9,13.1), (23.1,12.9,23.3,13.1), (9.5,13.9,9.7,14.1), (11.9,13.9,12.1,14.1), (19.1,13.9,19.3,14.1), (25.5,13.9,25.7,14.1), (6.3,15.9,6.5,16.1), (19.1,16.9,19.3,17.1), (23.1,16.9,23.3,17.1), (38.3,16.9,38.5,17.1), (23.9,18.9,24.1,19.1), (28.7,18.9,28.9,19.1), (10.7,20.4,10.9,20.6), (11.4,20.4,11.6,20.6), (20.7,21.9,20.9,22.1), (31.9,24.9,32.1,25.1), (35.9,24.9,36.1,25.1), (4.7,25.9,4.9,26.1), (10.3,25.9,10.5,26.1), (21.5,25.9,21.7,26.1), (29.5,25.9,29.7,26.1), (13.5,27.9,13.7,28.1), (19.9,28.9,20.1,29.1), (28.3,30.4,28.5,30.6), (29,30.4,29.2,30.6)])
A(watchdog, L62_0, 19, 11.1, 0.4, 0.1, 1, 3, 0, 3)
A(watchdog, L62_0, 35, 15.1, 0.4, 0.1, 3, 1, 3.2, 0)
R(watchdog, L62_0, [(10.4,0.3,12,0.7), (-2.6,4.8,3.4,5.1), (41.4,4.8,45,5.1), (-2.6,5.1,-2.2,5.2), (3,5.1,3.4,5.2), (41.4,5.1,41.8,5.2), (44.6,5.1,45,5.2), (4.6,5.8,16.2,6.1), (18.2,5.8,19.4,6.1), (23,5.8,31.4,6.1), (35,5.8,38.6,6.1), (5.4,6.1,5.8,6.2), (15.8,6.1,16.2,6.2), (18.2,6.1,18.6,6.2), (19,6.1,19.4,6.2), (23,6.1,23.4,6.2), (31,6.1,31.4,6.2), (35,6.1,35.4,6.2), (38.2,6.1,38.6,6.2), (-2.6,6.8,1,7.1), (1.4,6.8,17,7.1), (-2.6,7.1,-2.2,7.2), (0.6,7.1,1,7.2), (1.4,7.1,1.8,7.2), (16.6,7.1,17,7.2), (7,7.8,15.3,8.1), (15.8,7.8,22.6,8.1), (24.6,7.8,33.8,8.1), (7,8.1,7.4,8.2), (15,8.1,15.3,8.8), (15.8,8.1,16.2,8.2), (20.6,8.1,21,8.2), (22.2,8.1,22.6,8.2), (24.6,8.1,25,8.2), (33.4,8.1,33.8,8.2), (15,8.8,15.4,9.2), (17.4,8.8,26.6,9.1), (18.2,9.1,18.6,9.2), (20.6,9.1,21,9.2), (25.4,9.1,25.8,9.2), (26.2,9.1,26.6,9.2), (14.2,9.8,24.2,10.1), (14.2,10.1,14.6,10.2), (23.8,10.1,24.2,10.2), (28,10.3,29.6,10.7), (17.4,10.8,19.4,11.1), (17.4,11.1,17.8,11.2), (21.4,11.8,39.4,12.1), (21.4,12.1,21.8,12.2), (27,12.1,27.4,12.2), (36.6,12.1,37,12.2), (39,12.1,39.4,12.2), (16.6,12.8,23.4,13.1), (16.6,13.1,17,13.2), (23,13.1,23.4,13.2), (9.4,13.8,25.8,14.1), (9.4,14.1,9.8,14.2), (11.8,14.1,12.2,14.2), (25.4,14.1,25.8,14.2), (-2.6,14.8,35.4,15.1), (38.2,14.8,41.8,15.1), (-2.6,15.1,-2.2,15.2), (6.2,15.1,6.5,15.8), (6.2,15.8,6.6,16.2), (19,16.8,38.6,17.1), (23,17.1,23.4,17.2), (38.2,17.1,38.6,17.2), (23.8,18.8,29,19.1), (23.8,19.1,24.2,19.2), (28.6,19.1,29,19.2), (10.4,20.3,12,20.7), (20.6,20.8,21,21.2), (20.6,21.2,20.9,21.8), (20.6,21.8,21,22.2), (31.8,24.8,32.2,25.2), (35.8,24.8,36.2,25.2), (31.8,25.2,32.1,25.8), (35.8,25.2,36.1,25.8), (4.6,25.8,10.6,26.1), (21.4,25.8,29.8,26.1), (31.8,25.8,36.1,26.1), (4.6,26.1,5,26.2), (10.2,26.1,10.6,26.2), (21.4,26.1,21.8,26.2), (29.4,26.1,29.8,26.2), (13.4,27.8,20.1,28.1), (13.4,28.1,13.8,28.2), (19.8,28.1,20.1,28.8), (19.8,28.8,20.2,29.2), (28,30.3,29.6,30.7)])
watchdog.add(gdstk.Reference(dffposx1, (0.4,10.5)))
watchdog.add(gdstk.Reference(and2x2, (8.4,10.5), rotation=pi))
watchdog.add(gdstk.Reference(fill, (10.8,10.5)))
watchdog.add(gdstk.Reference(fill, (10,10.5)))
watchdog.add(gdstk.Reference(or2x2, (11.6,10.5), rotation=pi))
watchdog.add(gdstk.Reference(or2x2, (2,10.5), x_reflection=True))
watchdog.add(gdstk.Reference(invx1, (11.6,10.5)))
watchdog.add(gdstk.Reference(invx1, (0.4,10.5), x_reflection=True))
watchdog.add(gdstk.Reference(and2x2, (22.8,10.5), rotation=pi))
watchdog.add(gdstk.Reference(and2x2, (20.4,10.5), rotation=pi, x_reflection=True))
watchdog.add(gdstk.Reference(fill, (11.6,10.5), x_reflection=True))
watchdog.add(gdstk.Reference(fill, (12.4,10.5), x_reflection=True))
watchdog.add(gdstk.Reference(aoi21x1, (19.6,10.5), rotation=pi))
watchdog.add(gdstk.Reference(aoi21x1, (13.2,10.5), x_reflection=True))
watchdog.add(gdstk.Reference(nor2x1, (13.2,10.5)))
watchdog.add(gdstk.Reference(nand3x1, (20.4,10.5)))
watchdog.add(gdstk.Reference(invx1, (15.6,10.5)))
watchdog.add(gdstk.Reference(nand2x1, (23.6,10.5)))
watchdog.add(gdstk.Reference(aoi21x1, (26,10.5), rotation=pi))
watchdog.add(gdstk.Reference(or2x2, (26,10.5), x_reflection=True))
watchdog.add(gdstk.Reference(and2x2, (26,10.5)))
watchdog.add(gdstk.Reference(nor2x1, (34,10.5), x_reflection=True))
watchdog.add(gdstk.Reference(fill, (29.2,10.5), x_reflection=True))
watchdog.add(gdstk.Reference(fill, (30,10.5), x_reflection=True))
watchdog.add(gdstk.Reference(fill, (29.2,10.5)))
watchdog.add(gdstk.Reference(fill, (30,10.5)))
watchdog.add(gdstk.Reference(and2x2, (30.8,10.5), x_reflection=True))
watchdog.add(gdstk.Reference(dffposx1, (30.8,10.5)))
watchdog.add(gdstk.Reference(fill, (41.2,10.5)))
watchdog.add(gdstk.Reference(fill, (42,10.5), rotation=pi))
watchdog.add(gdstk.Reference(fill, (40.4,10.5)))
watchdog.add(gdstk.Reference(bufx2, (38.8,10.5), x_reflection=True))
watchdog.add(gdstk.Reference(nand2x1, (38.8,10.5), rotation=pi))
watchdog.add(gdstk.Reference(dffposx1, (0.4,30.5), x_reflection=True))
watchdog.add(gdstk.Reference(fill, (11.6,30.5), rotation=pi))
watchdog.add(gdstk.Reference(fill, (10.8,30.5), rotation=pi))
watchdog.add(gdstk.Reference(and2x2, (14.8,30.5), rotation=pi))
watchdog.add(gdstk.Reference(or2x2, (18,30.5), rotation=pi))
watchdog.add(gdstk.Reference(aoi21x1, (24.4,30.5), rotation=pi))
watchdog.add(gdstk.Reference(aoi21x1, (18,30.5), x_reflection=True))
watchdog.add(gdstk.Reference(dffposx1, (32.4,30.5), x_reflection=True))
watchdog.add(gdstk.Reference(and2x2, (29.2,30.5), x_reflection=True))
watchdog.add(gdstk.Reference(fill, (28.4,30.5), x_reflection=True))
watchdog.add(gdstk.Reference(fill, (27.6,30.5), x_reflection=True))
watchdog.add(gdstk.Reference(or2x2, (24.4,30.5), x_reflection=True))
watchdog.add(gdstk.Label('vdd', (11.2,0.4), layer=37, texttype=0))
watchdog.add(gdstk.Label('gnd', (28.8,0.4), layer=37, texttype=0))
watchdog.add(gdstk.Label('restart', (-2.4,5), layer=62, texttype=0))
watchdog.add(gdstk.Label('enable', (-2.4,7), layer=62, texttype=0))
watchdog.add(gdstk.Label('clk', (-2.4,15), layer=62, texttype=0))
watchdog.add(gdstk.Label('timeout', (44.8,5), layer=62, texttype=0))

lib.write_gds('Watchdog.gds')
